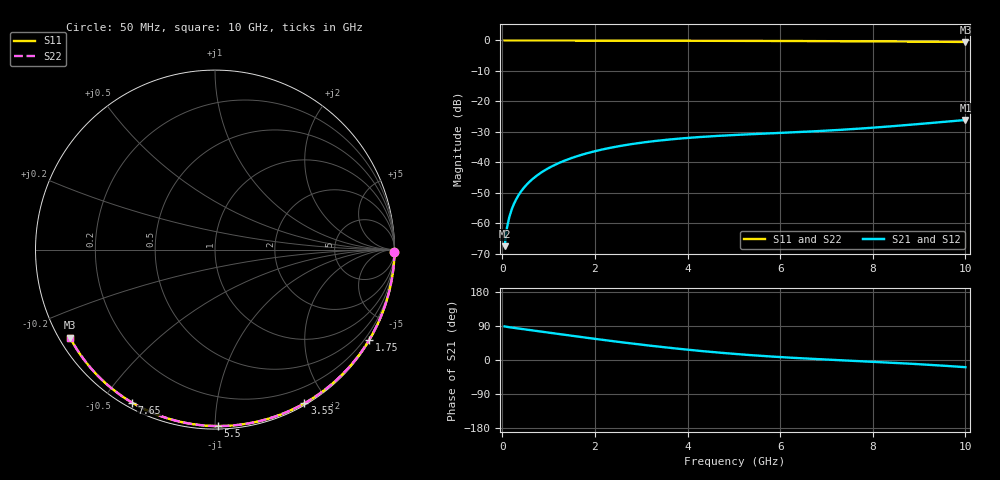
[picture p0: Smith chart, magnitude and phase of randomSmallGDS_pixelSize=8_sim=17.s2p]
! freq	dB(S11)	phase(S11)	dB(S12)	phase(S12)
!  dB(S21)	phase(S21)	dB(S22)	phase(S22)
!S-par simulation data
#  GHz  S  DB  R 50
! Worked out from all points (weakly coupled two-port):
!   200 points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, 50 MHz to 10 GHz, reference 50 ohm
!   highest |S21| = -26.09 dB at 10 GHz (marker M1); lowest = -67.5 dB at 50 MHz (marker M2)
!   lowest |S11| = -0.5 dB at 10 GHz (marker M3), VSWR 35.23, Z = 1.53 - j14 ohm
!   |S11| at or under -10 dB: nowhere
!   |S22| runs from -0.5 to 0.0 dB; largest |S21 - S12| = 0
!   S11 on the Smith chart (normalised r, x): 50 MHz: open; 1.75 GHz: 0.03, -3.69; 3.55 GHz: 0.02, -1.74; 5.5 GHz: 0.02, -1.02; 7.65 GHz: 0.02, -0.60; 10 GHz: 0.03, -0.28
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0.05  -0.00 -0.9  -67.47 88.7  -67.47 88.7  -0.00 -0.9
0.1  -0.00 -1.8  -61.49 87.5  -61.49 87.5  -0.00 -1.8
0.15  -0.00 -2.7  -58.01 86.5  -58.01 86.5  -0.00 -2.6
0.2  -0.00 -3.5  -55.55 85.6  -55.55 85.6  -0.00 -3.5
0.25  -0.00 -4.4  -53.65 84.8  -53.65 84.8  -0.00 -4.4
0.35  -0.00 -6.2  -50.78 83.1  -50.78 83.1  -0.00 -6.2
0.5  -0.01 -8.8  -47.73 80.7  -47.73 80.7  -0.01 -8.8
0.7  -0.01 -12.3  -44.86 77.3  -44.86 77.3  -0.01 -12.3
1  -0.02 -17.5  -41.86 72.3  -41.86 72.3  -0.02 -17.5
1.35  -0.03 -23.5  -39.39 66.4  -39.39 66.4  -0.03 -23.5
1.75  -0.04 -30.3  -37.33 59.8  -37.33 59.8  -0.04 -30.3
2.5  -0.06 -42.9  -34.72 48.0  -34.72 48.0  -0.06 -42.8
3.4  -0.08 -57.4  -32.81 35.0  -32.81 35.0  -0.08 -57.4
3.55  -0.08 -59.8  -32.57 33.0  -32.57 33.0  -0.08 -59.8
4.3  -0.10 -71.4  -31.63 23.7  -31.63 23.7  -0.10 -71.4
5.05  -0.13 -82.6  -30.98 15.8  -30.98 15.8  -0.13 -82.5
5.5  -0.15 -89.1  -30.66 11.7  -30.66 11.7  -0.15 -89.0
6.7  -0.21 -105.8  -29.82 3.0  -29.82 3.0  -0.21 -105.7
7.65  -0.27 -118.4  -28.98 -2.5  -28.98 -2.5  -0.27 -118.3
8.35  -0.32 -127.5  -28.21 -6.7  -28.21 -6.7  -0.32 -127.4
9.2  -0.40 -138.5  -27.15 -12.6  -27.15 -12.6  -0.40 -138.3
10  -0.49 -148.7  -26.09 -18.9  -26.09 -18.9  -0.49 -148.6
